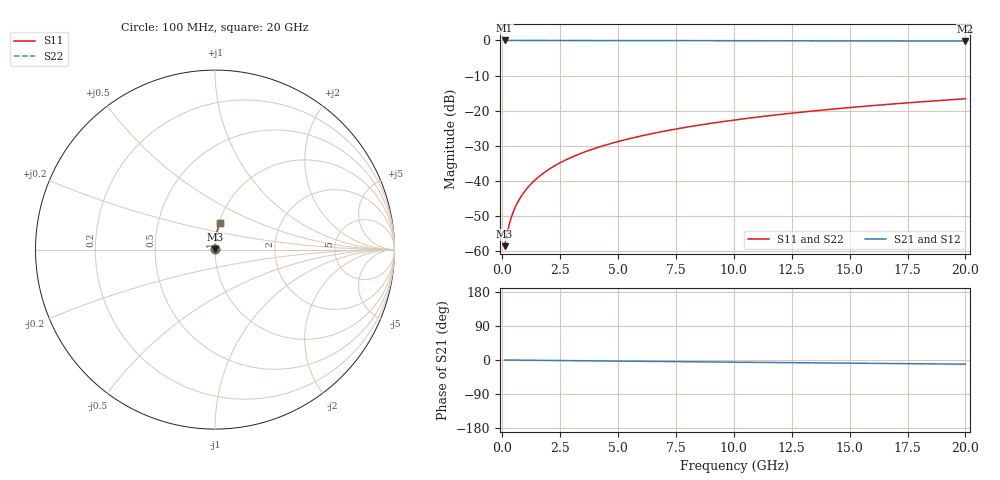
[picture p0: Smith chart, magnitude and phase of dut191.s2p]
! Touchstone file exported from HFSS 2024.1.0
!  File:  C:/UserFiles/LocalFiles/RDL_TSV_Batchsim/temp_RDL_top_191_1778686607.aedt
!  Generated:  11:39:11 PM May 13, 2026
!  Design:  RDL_top
!  Project:  temp_RDL_top_191_1778686607
!  Setup:  Setup1
!  Solution:  Sweep
! Variables:
!  dtsv = 10.80580581um
!  hbump = 3um
!  htsv = 56.59um
!  ldown = 100um
!  lrdl = 110.71um
!  p = 40
!  p1 = 44.53um
!  rhole = 1um
!  t = 450um
!  tdown = 3.915915916um
!  trdl = 4.22um
!  wdown = 15.38538539um
!  wrdl = 11.88um
# GHz S MA R 50.000000
! Terminal data exported
! Port[1] = Box2_T1
! Port[2] = Box2_T2
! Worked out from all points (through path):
!   200 points, 100 MHz to 20 GHz, reference 50 ohm
!   highest |S21| = -0.01 dB at 100 MHz (marker M1); lowest = -0.2 dB at 20 GHz (marker M2)
!   group delay of S21, straight-line fit = 1.52 ps
!   lowest |S11| = -58.5 dB at 100 MHz (marker M3), VSWR 1.00, Z = 50.1 + j0.0755 ohm
!   |S11| at or under -10 dB: start of sweep to end of sweep
!   |S22| runs from -58.5 to -16.6 dB; largest |S21 - S12| = 3.5e-15
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0.1  0.001189 39.3  0.9991 -0.1  0.9991 -0.1  0.001189 39.3
! Gamma 0 0 0 0
! Port Impedance 50 0 50 0
0.2  0.001769 58.1  0.9991 -0.1  0.9991 -0.1  0.001769 58.1
0.3  0.002436 66.9  0.999 -0.2  0.999 -0.2  0.002436 66.9
0.4  0.003128 71.8  0.999 -0.2  0.999 -0.2  0.003128 71.8
0.5  0.003831 74.9  0.999 -0.3  0.999 -0.3  0.003831 74.9
0.6  0.004538 77.1  0.999 -0.4  0.999 -0.4  0.004538 77.1
0.8  0.005963 80.0  0.9989 -0.5  0.9989 -0.5  0.005963 79.9
1.1  0.008115 82.4  0.9988 -0.7  0.9988 -0.7  0.008115 82.4
1.5  0.011 84.1  0.9987 -0.9  0.9987 -0.9  0.011 84.1
1.8  0.01317 84.8  0.9986 -1.1  0.9986 -1.1  0.01317 84.8
2.1  0.01535 85.4  0.9985 -1.2  0.9985 -1.2  0.01535 85.4
2.7  0.01971 86.0  0.9982 -1.6  0.9982 -1.6  0.01971 86.0
3.5  0.02555 86.4  0.9977 -2.1  0.9977 -2.1  0.02555 86.4
4.2  0.03067 86.5  0.9972 -2.5  0.9972 -2.5  0.03067 86.5
5  0.03654 86.5  0.9965 -2.9  0.9965 -2.9  0.03654 86.5
5.9  0.04317 86.4  0.9957 -3.4  0.9957 -3.4  0.04317 86.4
6.8  0.04983 86.2  0.9948 -3.9  0.9948 -3.9  0.04983 86.2
8.3  0.06097 85.8  0.9933 -4.8  0.9933 -4.8  0.06097 85.8
10.1  0.07441 85.1  0.9913 -5.8  0.9913 -5.8  0.07441 85.1
13.4  0.09912 83.6  0.9874 -7.5  0.9874 -7.5  0.09911 83.6
16.7  0.1237 81.9  0.9833 -9.3  0.9833 -9.3  0.1237 81.9
20  0.1481 80.1  0.9788 -11.0  0.9788 -11.0  0.1481 80.1
